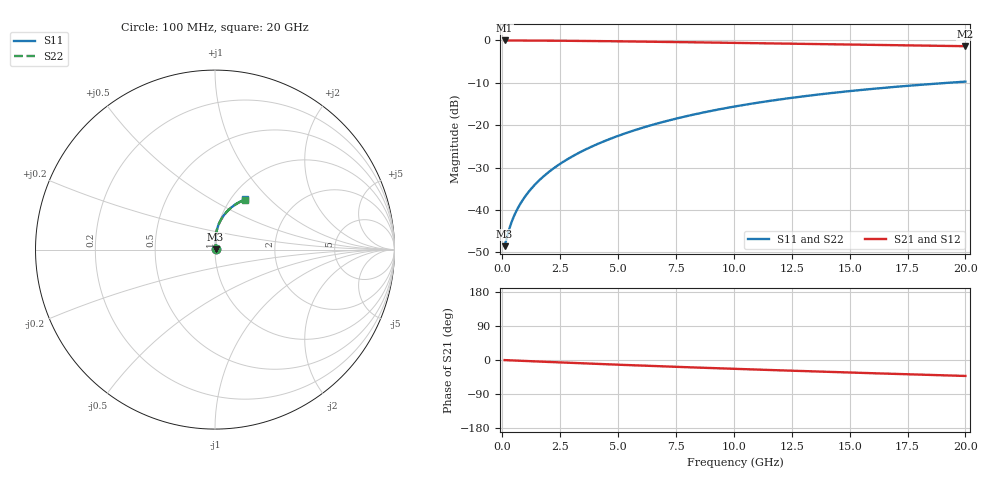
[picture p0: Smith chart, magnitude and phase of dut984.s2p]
! Touchstone file exported from HFSS 2024.1.0
!  File:  C:/UserFiles/LocalFiles/RDL_TSV_Batchsim/temp_RDL_top_984_1779939352.aedt
!  Generated:  11:38:12 AM May 28, 2026
!  Design:  RDL_top
!  Project:  temp_RDL_top_984_1779939352
!  Setup:  Setup1
!  Solution:  Sweep
! Variables:
!  dtsv = 10.80580581um
!  hbump = 3um
!  htsv = 90.62um
!  ldown = 100um
!  lrdl = 617.79um
!  p = 40
!  p1 = 48.88um
!  rhole = 1um
!  t = 450um
!  tdown = 3.915915916um
!  trdl = 2.69um
!  wdown = 15.38538539um
!  wrdl = 26.47um
# GHz S MA R 50.000000
! Terminal data exported
! Port[1] = Box2_T1
! Port[2] = Box2_T2
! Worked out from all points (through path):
!   200 points, 100 MHz to 20 GHz, reference 50 ohm
!   highest |S21| = -0.03 dB at 100 MHz (marker M1); lowest = -1.4 dB at 20 GHz (marker M2)
!   group delay of S21, straight-line fit = 5.79 ps
!   lowest |S11| = -48.5 dB at 100 MHz (marker M3), VSWR 1.01, Z = 50.3 + j0.165 ohm
!   |S11| at or under -10 dB: start of sweep to 19.28 GHz
!   |S22| runs from -48.5 to -9.8 dB; largest |S21 - S12| = 5e-15
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0.1  0.003745 25.9  0.9966 -0.3  0.9966 -0.3  0.003745 25.9
! Gamma 0 0 0 0
! Port Impedance 50 0 50 0
0.3  0.005964 51.4  0.9962 -0.8  0.9962 -0.8  0.005964 51.4
0.4  0.007192 57.2  0.9959 -1.1  0.9959 -1.1  0.007193 57.2
0.5  0.008415 61.4  0.9957 -1.3  0.9957 -1.3  0.008415 61.4
0.6  0.009634 64.6  0.9954 -1.6  0.9954 -1.6  0.009635 64.6
0.8  0.01209 69.5  0.995 -2.1  0.995 -2.1  0.01209 69.5
1  0.0146 73.0  0.9945 -2.6  0.9945 -2.6  0.0146 73.0
1.2  0.01716 75.7  0.994 -3.1  0.994 -3.1  0.01716 75.7
1.7  0.0238 80.2  0.9925 -4.4  0.9925 -4.4  0.0238 80.1
2.2  0.03074 82.9  0.9906 -5.6  0.9906 -5.6  0.03074 82.8
2.8  0.03946 84.9  0.9878 -7.1  0.9878 -7.1  0.03945 84.8
3.5  0.05015 86.1  0.9839 -8.8  0.9839 -8.8  0.05012 86.1
4.2  0.06136 86.7  0.9795 -10.5  0.9795 -10.5  0.06132 86.6
5  0.07476 86.6  0.9739 -12.4  0.9739 -12.4  0.07469 86.5
5.9  0.09043 86.0  0.9671 -14.5  0.9671 -14.5  0.09034 85.9
6.8  0.1066 84.9  0.96 -16.5  0.96 -16.5  0.1064 84.9
8.4  0.1359 82.4  0.9468 -19.9  0.9468 -19.9  0.1357 82.3
10.1  0.1671 79.1  0.9327 -23.5  0.9327 -23.5  0.1668 79.0
11.7  0.1959 75.8  0.9194 -26.7  0.9194 -26.7  0.1956 75.7
13.4  0.2255 72.2  0.9054 -30.0  0.9054 -30.0  0.225 72.1
16.7  0.2788 65.4  0.8788 -36.2  0.8788 -36.2  0.2782 65.3
20  0.326 58.9  0.853 -42.1  0.853 -42.1  0.3254 58.8
